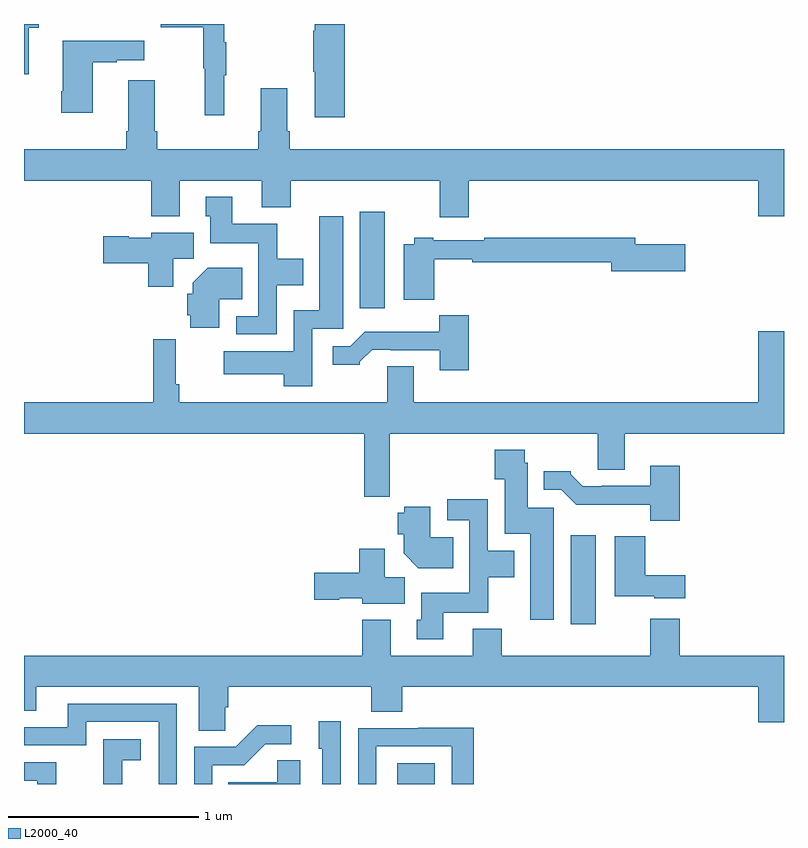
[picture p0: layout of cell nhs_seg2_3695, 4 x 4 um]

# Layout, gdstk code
import gdstk
lib = gdstk.Library(unit=1e-6, precision=1e-09)
def R(c, l, rs):  # rectangles x0, y0, x1, y1
    for r in rs: c.add(gdstk.rectangle(r[:2], r[2:], *l))
def P(c, l, *ps):  # polygons
    for p in ps: c.add(gdstk.Polygon(p, *l))
L2000_40 = (2000, 40)

nhs_seg2_3695 = lib.new_cell('nhs_seg2_3695')
R(nhs_seg2_3695, L2000_40, [(306.965,637.8,307.162,637.909), (307.877,638.64,308.008,639.109), (306.767,640.305,306.898,640.813)])
P(nhs_seg2_3695, L2000_40, [(306.689,641.8),(306.53,641.8),(306.53,641.765),(306.523,641.765),(306.523,641.548),(306.53,641.548),(306.53,641.31),(306.689,641.31)],
  [(305.024,641.781),(305.077,641.781),(305.077,641.8),(305,641.8),(305,641.535),(305.024,641.535)],
  [(306.053,641.531),(306.064,641.531),(306.064,641.705),(306.053,641.705),(306.053,641.8),(305.719,641.8),(305.719,641.782),(305.943,641.782),(305.943,641.568),(305.95,641.568),(305.95,641.319),(306.053,641.319)],
  [(305.362,641.599),(305.489,641.599),(305.489,641.609),(305.632,641.609),(305.632,641.713),(305.204,641.713),(305.204,641.446),(305.197,641.446),(305.197,641.334),(305.362,641.334)],
  [(307.34,640.976),(308.864,640.976),(308.864,640.788),(309,640.788),(309,641.14),(306.398,641.14),(306.398,641.236),(306.385,641.236),(306.385,641.461),(306.245,641.461),(306.245,641.236),(306.233,641.236),(306.233,641.14),(305.702,641.14),(305.702,641.236),(305.689,641.236),(305.689,641.503),(305.549,641.503),(305.549,641.236),(305.537,641.236),(305.537,641.14),(305,641.14),(305,640.976),(305.669,640.976),(305.669,640.787),(305.821,640.787),(305.821,640.976),(306.251,640.976),(306.251,640.835),(306.404,640.835),(306.404,640.976),(307.187,640.976),(307.187,640.782),(307.34,640.782)],
  [(306.33,640.424),(306.469,640.424),(306.469,640.564),(306.333,640.564),(306.333,640.75),(306.097,640.75),(306.097,640.891),(305.957,640.891),(305.957,640.788),(305.981,640.788),(305.981,640.646),(306.234,640.646),(306.234,640.263),(306.117,640.263),(306.117,640.167),(306.33,640.167)],
  [(306.516,640.197),(306.679,640.197),(306.679,640.789),(306.554,640.789),(306.554,640.294),(306.42,640.294),(306.42,640.078),(306.051,640.078),(306.051,639.956),(306.368,639.956),(306.368,639.894),(306.516,639.894)],
  [(305.786,640.564),(305.893,640.564),(305.893,640.702),(305.67,640.702),(305.67,640.675),(305.55,640.675),(305.55,640.683),(305.418,640.683),(305.418,640.541),(305.654,640.541),(305.654,640.416),(305.786,640.416)],
  [(307.16,640.561),(307.358,640.561),(307.358,640.546),(308.09,640.546),(308.09,640.499),(308.479,640.499),(308.479,640.641),(308.218,640.641),(308.218,640.675),(307.423,640.675),(307.423,640.662),(307.153,640.662),(307.153,640.675),(307.053,640.675),(307.053,640.642),(306.998,640.642),(306.998,640.349),(307.16,640.349)],
  [(306.028,640.352),(306.149,640.352),(306.149,640.516),(305.966,640.516),(305.888,640.438),(305.888,640.38),(305.859,640.38),(305.859,640.266),(305.876,640.266),(305.876,640.202),(306.028,640.202)],
  [(307.34,640.267),(307.185,640.267),(307.185,640.18),(306.793,640.18),(306.717,640.104),(306.624,640.104),(306.624,640.007),(306.768,640.007),(306.768,640.022),(306.832,640.086),(306.931,640.086),(306.931,640.083),(307.187,640.083),(307.187,639.978),(307.34,639.978)],
  [(306.926,639.644),(308.021,639.644),(308.021,639.454),(308.161,639.454),(308.161,639.644),(309,639.644),(309,640.183),(308.864,640.183),(308.864,639.808),(307.051,639.808),(307.051,639.998),(306.911,639.998),(306.911,639.808),(305.816,639.808),(305.816,639.904),(305.799,639.904),(305.799,640.141),(305.68,640.141),(305.68,639.808),(305,639.808),(305,639.644),(306.79,639.644),(306.79,639.312),(306.926,639.312)],
  [(307.789,639.255),(307.651,639.255),(307.651,639.492),(307.635,639.492),(307.635,639.559),(307.478,639.559),(307.478,639.403),(307.529,639.403),(307.529,639.116),(307.664,639.116),(307.664,638.664),(307.789,638.664)],
  [(308.45,639.475),(308.297,639.475),(308.297,639.369),(308.041,639.369),(308.041,639.366),(307.942,639.366),(307.878,639.43),(307.878,639.445),(307.736,639.445),(307.736,639.348),(307.827,639.348),(307.906,639.27),(308.295,639.27),(308.295,639.185),(308.45,639.185)],
  [(307.207,638.702),(307.443,638.702),(307.443,638.888),(307.579,638.888),(307.579,639.028),(307.44,639.028),(307.44,639.298),(307.227,639.298),(307.227,639.189),(307.344,639.189),(307.344,638.806),(307.091,638.806),(307.091,638.664),(307.067,638.664),(307.067,638.562),(307.207,638.562)],
  [(307.259,639.1),(307.138,639.1),(307.138,639.258),(307.002,639.258),(307.002,639.228),(306.968,639.228),(306.968,639.114),(306.998,639.114),(306.998,639.014),(307.076,638.936),(307.259,638.936)],
  [(308.479,638.899),(308.27,638.899),(308.27,639.103),(308.108,639.103),(308.108,638.789),(308.316,638.789),(308.316,638.777),(308.479,638.777)],
  [(307.003,638.888),(306.898,638.888),(306.898,639.037),(306.764,639.037),(306.764,638.912),(306.528,638.912),(306.528,638.77),(306.66,638.77),(306.66,638.777),(306.78,638.777),(306.78,638.75),(307.003,638.75)],
  [(306.06,638.203),(306.074,638.203),(306.074,638.312),(306.827,638.312),(306.827,638.179),(306.992,638.179),(306.992,638.312),(308.864,638.312),(308.864,638.124),(309,638.124),(309,638.476),(308.45,638.476),(308.45,638.671),(308.297,638.671),(308.297,638.476),(307.514,638.476),(307.514,638.617),(307.361,638.617),(307.361,638.476),(306.931,638.476),(306.931,638.665),(306.779,638.665),(306.779,638.476),(305,638.476),(305,638.185),(305.065,638.185),(305.065,638.312),(305.921,638.312),(305.921,638.08),(306.06,638.08)],
  [(305.805,638.223),(305.231,638.223),(305.231,638.1),(305,638.1),(305,638.004),(305.328,638.004),(305.328,638.127),(305.709,638.127),(305.709,637.8),(305.805,637.8)],
  [(306.666,638.131),(306.551,638.131),(306.551,637.986),(306.57,637.986),(306.57,637.8),(306.666,637.8)],
  [(305.991,637.899),(306.16,637.899),(306.271,638.01),(306.406,638.01),(306.406,638.108),(306.227,638.108),(306.114,637.995),(305.895,637.995),(305.895,637.8),(305.991,637.8)],
  [(306.855,637.998),(307.251,637.998),(307.251,637.8),(307.367,637.8),(307.367,638.096),(307.075,638.096),(307.075,638.094),(306.759,638.094),(306.759,637.8),(306.855,637.8)],
  [(305.516,637.925),(305.614,637.925),(305.614,638.035),(305.416,638.035),(305.416,637.829),(305.417,637.829),(305.417,637.8),(305.516,637.8)],
  [(306.454,637.925),(306.333,637.925),(306.333,637.81),(306.076,637.81),(306.076,637.8),(306.454,637.8)],
  [(305.169,637.914),(305,637.914),(305,637.818),(305.07,637.818),(305.07,637.8),(305.169,637.8)])

lib.write_gds('nhs_seg2_3695.gds')
